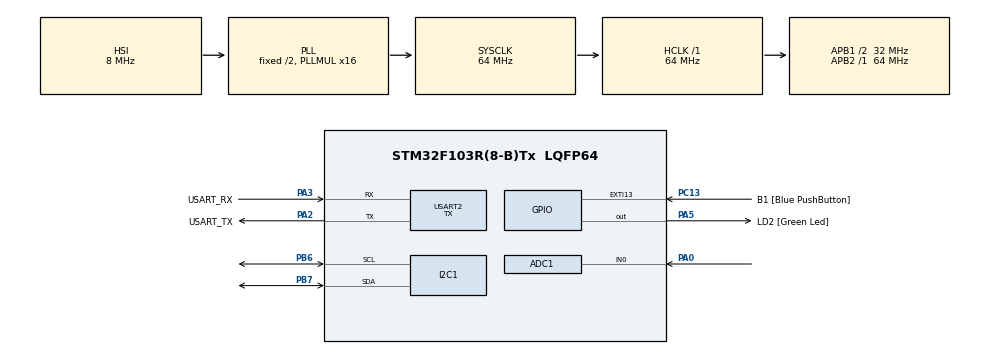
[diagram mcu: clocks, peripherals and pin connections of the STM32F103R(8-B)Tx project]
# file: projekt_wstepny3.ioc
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ADC1.Channel-0\#ChannelRegularConversion=ADC_CHANNEL_0
ADC1.ContinuousConvMode=DISABLE
ADC1.ExternalTrigConv=ADC_EXTERNALTRIGCONV_T3_TRGO
ADC1.NbrOfConversion=1
ADC1.NbrOfConversionFlag=1
ADC1.Rank-0\#ChannelRegularConversion=1
ADC1.SamplingTime-0\#ChannelRegularConversion=ADC_SAMPLETIME_1CYCLE_5
ADC1.master=1
Dma.ADC1.0.Direction=DMA_PERIPH_TO_MEMORY
Dma.ADC1.0.Instance=DMA1_Channel1
Dma.ADC1.0.MemDataAlignment=DMA_MDATAALIGN_HALFWORD
Dma.ADC1.0.MemInc=DMA_MINC_ENABLE
Dma.ADC1.0.Mode=DMA_CIRCULAR
Dma.ADC1.0.PeriphDataAlignment=DMA_PDATAALIGN_HALFWORD
Dma.ADC1.0.PeriphInc=DMA_PINC_DISABLE
Dma.ADC1.0.Priority=DMA_PRIORITY_LOW
Dma.Request0=ADC1
Dma.Request1=USART2_TX
Dma.USART2_TX.1.Direction=DMA_MEMORY_TO_PERIPH
Dma.USART2_TX.1.Instance=DMA1_Channel7
Dma.USART2_TX.1.MemDataAlignment=DMA_MDATAALIGN_BYTE
Dma.USART2_TX.1.MemInc=DMA_MINC_ENABLE
Dma.USART2_TX.1.Mode=DMA_NORMAL
Dma.USART2_TX.1.PeriphDataAlignment=DMA_PDATAALIGN_BYTE
Dma.USART2_TX.1.PeriphInc=DMA_PINC_DISABLE
Dma.USART2_TX.1.Priority=DMA_PRIORITY_LOW
Mcu.Family=STM32F1
Mcu.Name=STM32F103R(8-B)Tx
Mcu.Package=LQFP64
NVIC.DMA1_Channel1_IRQn=true\:0\:0\:false\:false\:true\:false\:true
NVIC.DMA1_Channel7_IRQn=true\:0\:0\:false\:false\:true\:false\:true
NVIC.EXTI15_10_IRQn=true\:0\:0\:false\:false\:true\:true\:true
NVIC.PriorityGroup=NVIC_PRIORITYGROUP_4
NVIC.TIM2_IRQn=true\:1\:0\:true\:false\:true\:true\:true
PA0-WKUP.Signal=ADCx_IN0
PA13.GPIO_Label=TMS
PA13.Mode=Serial_Wire
PA13.Signal=SYS_JTMS-SWDIO
PA14.GPIO_Label=TCK
PA14.Mode=Serial_Wire
PA14.Signal=SYS_JTCK-SWCLK
PA2.GPIO_Label=USART_TX
PA2.GPIO_Mode=GPIO_MODE_AF_PP
PA2.GPIO_PuPd=GPIO_NOPULL
PA2.GPIO_Speed=GPIO_SPEED_FREQ_LOW
PA2.Mode=Asynchronous
PA2.Signal=USART2_TX
PA3.GPIO_Label=USART_RX
PA3.GPIO_Mode=GPIO_MODE_AF_PP
PA3.GPIO_PuPd=GPIO_NOPULL
PA3.GPIO_Speed=GPIO_SPEED_FREQ_LOW
PA3.Mode=Asynchronous
PA3.Signal=USART2_RX
PA5.GPIO_Label=LD2 [Green Led]
PA5.GPIO_ModeDefaultOutputPP=GPIO_MODE_OUTPUT_PP
PA5.GPIO_PuPd=GPIO_NOPULL
PA5.GPIO_Speed=GPIO_SPEED_FREQ_LOW
PA5.Signal=GPIO_Output
PB3.GPIO_Label=SWO
PB3.Signal=SYS_JTDO-TRACESWO
PB6.Mode=I2C
PB6.Signal=I2C1_SCL
PB7.Mode=I2C
PB7.Signal=I2C1_SDA
PC13-TAMPER-RTC.GPIO_Label=B1 [Blue PushButton]
PC13-TAMPER-RTC.GPIO_PuPd=GPIO_NOPULL
PC13-TAMPER-RTC.Signal=GPXTI13
PC14-OSC32_IN.Mode=LSE-External-Oscillator
PC14-OSC32_IN.Signal=RCC_OSC32_IN
PC15-OSC32_OUT.Mode=LSE-External-Oscillator
PC15-OSC32_OUT.Signal=RCC_OSC32_OUT
PD0-OSC_IN.Mode=HSE-External-Clock-Source
PD0-OSC_IN.Signal=RCC_OSC_IN
PD1-OSC_OUT.Mode=HSE-External-Clock-Source
PD1-OSC_OUT.Signal=RCC_OSC_OUT
ProjectManager.HeapSize=0x200
ProjectManager.StackSize=0x400
ProjectManager.TargetToolchain=STM32CubeIDE
RCC.ADCPresc=RCC_ADCPCLK2_DIV8
RCC.AHBFreq_Value=64000000
RCC.APB1CLKDivider=RCC_HCLK_DIV2
RCC.APB1Freq_Value=32000000
RCC.APB1TimFreq_Value=64000000
RCC.APB2Freq_Value=64000000
RCC.APB2TimFreq_Value=64000000
RCC.HCLKFreq_Value=64000000
RCC.PLLMUL=RCC_PLL_MUL16
RCC.RTCClockSelection=RCC_RTCCLKSOURCE_LSE
RCC.SYSCLKFreq_VALUE=64000000
RCC.SYSCLKSource=RCC_SYSCLKSOURCE_PLLCLK
RCC.USBFreq_Value=64000000
SH.ADCx_IN0.0=ADC1_IN0,IN0
TIM2.AutoReloadPreload=TIM_AUTORELOAD_PRELOAD_ENABLE
TIM2.Period=32
TIM2.Prescaler=63999
TIM2.TIM_MasterOutputTrigger=TIM_TRGO_UPDATE
TIM3.AutoReloadPreload=TIM_AUTORELOAD_PRELOAD_ENABLE
TIM3.Period=1
TIM3.Prescaler=725
TIM3.TIM_MasterOutputTrigger=TIM_TRGO_UPDATE
USART2.Mode=MODE_TX
USART2.VirtualMode=VM_ASYNC
VP_TIM2_VS_ClockSourceINT.Mode=Internal
VP_TIM3_VS_ClockSourceINT.Mode=Internal
board=NUCLEO-F103RB

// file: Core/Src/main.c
/* USER CODE BEGIN Header */
/**
  ******************************************************************************
  * @file           : main.c
  * @brief          : Main program body
  ******************************************************************************
  * @attention
  *
  * <h2><center>&copy; Copyright (c) 2021 STMicroelectronics.
  * All rights reserved.</center></h2>
  *
  * This software component is licensed by ST under BSD 3-Clause license,
  * the "License"; You may not use this file except in compliance with the
  * License. You may obtain a copy of the License at:
  *                        opensource.org/licenses/BSD-3-Clause
  *
  ******************************************************************************
  */
/* USER CODE END Header */
#include "main.h"

/* USER CODE BEGIN Includes */
#include <stdint.h>
#include <string.h>
#include "stm32_fix_fft.h"
//#include "ssd1306.h"
//#include "ssd1306_tests.h"
#include "lib_ssd1306.h"
/* USER CODE END Includes */

/* USER CODE BEGIN PD */
#define FFT_LEN (uint32_t)256
#define HALF_FFT_LEN (uint32_t)128
#define LOG_2_FFT_LEN (uint32_t)8
#define UART_TIMEOUT (uint32_t)10 //timeout duration
#define WAITING_TIME (uint32_t)10
//#define COM_START_CHAR (uint8_t)'F'

#define UART_SEND
/* USER CODE END PD */

ADC_HandleTypeDef hadc1;
DMA_HandleTypeDef hdma_adc1;

I2C_HandleTypeDef hi2c1;

TIM_HandleTypeDef htim2;
TIM_HandleTypeDef htim3;

UART_HandleTypeDef huart2;
DMA_HandleTypeDef hdma_usart2_tx;

/* USER CODE BEGIN PV */

int16_t adc_data[FFT_LEN] = {0};
int16_t data[FFT_LEN] = {0};
int16_t buffer[FFT_LEN] = {0};

int16_t imag[FFT_LEN] = {0};

uint16_t max = 0;

uint32_t sum = 0;
uint16_t mean = 0;

uint32_t interrupt_flag = 0;

uint8_t text[10];

/* USER CODE END PV */

void SystemClock_Config(void);
static void MX_GPIO_Init(void);
static void MX_USART2_UART_Init(void);
static void MX_DMA_Init(void);
static void MX_ADC1_Init(void);
static void MX_I2C1_Init(void);
static void MX_TIM3_Init(void);
static void MX_TIM2_Init(void);
/* USER CODE BEGIN PFP */
double sqrt(double arg);
int sprintf(char* str, const char* format, ...);
/* USER CODE END PFP */

int main(void)
{

  /* MCU Configuration--------------------------------------------------------*/

  /* Reset of all peripherals, Initializes the Flash interface and the Systick. */
  HAL_Init();

  /* Configure the system clock */
  SystemClock_Config();

  /* Initialize all configured peripherals */
  MX_GPIO_Init();
  MX_USART2_UART_Init();
  MX_DMA_Init();
  MX_ADC1_Init();
  MX_I2C1_Init();
  MX_TIM3_Init();
  MX_TIM2_Init();
  /* USER CODE BEGIN 2 */
  //initializing display
  ssd1306_setup();
  //waiting for display initialization
  HAL_Delay(10);
  //starting timer which triggerssampling timer (TIM3)
  HAL_TIM_Base_Start_IT(&htim2);
  //connecting adc data to buffer via dma
  HAL_ADC_Start_DMA(&hadc1, (uint32_t*) adc_data, FFT_LEN);
  //waiting for peripherals initialization
  HAL_Delay(10);
  /* USER CODE END 2 */

  /* Infinite loop */
  while (1)
  {

    /* USER CODE BEGIN 3 */
	if(interrupt_flag)
	{
		//clear screen
		ssd1306_clear();

		max = 0;
		sum = 0;
		mean = 0;

		for(int i = 0; i < FFT_LEN; i++)
		{
			buffer[i] = data[i];
			sum += buffer[i];
		}
		//removing dc
		mean = sum/FFT_LEN;
		for(int i = 0; i < FFT_LEN; i++)
		{
			buffer[i] -= mean;
		}

		//send uart data
		#ifdef UART_SEND
		HAL_UART_Transmit(&huart2, (uint8_t*) "F", 1, UART_TIMEOUT);
		for(int i = 0; i < FFT_LEN; i++)
		{
			sprintf((char*)text, (char*)"%d,", buffer[i]);
			HAL_UART_Transmit(&huart2, text, strlen((char*) text), UART_TIMEOUT);
		}
		HAL_UART_Transmit(&huart2, (uint8_t*) "\n", 1, UART_TIMEOUT);
		#endif

		//computing fft
		fix_fft(buffer, imag, LOG_2_FFT_LEN, 0);
		//computing absolute value of fft result and searching for max value
		for(int i = 0; i < FFT_LEN; i++)
		{
			buffer[i] = (int16_t)sqrt(buffer[i] * buffer[i] + imag[i] * imag[i]);
			if (buffer[i] > max) max = buffer[i];
		}
		//normalizing results to the max value and writing it to screen memory
		for(int i = 0; i < HALF_FFT_LEN; i++)
		{
			buffer[i] = 32*buffer[i]/max;
			ssd1306_line(i, 32-buffer[i]);
		}
		//displaying
		ssd1306_update();
		//stop sampling timer
		HAL_TIM_Base_Stop(&htim3);

		//clearing interrupt flag
		interrupt_flag = 0;
	}

  }
  /* USER CODE END 3 */
}

void SystemClock_Config(void)
{
  RCC_OscInitTypeDef RCC_OscInitStruct = {0};
  RCC_ClkInitTypeDef RCC_ClkInitStruct = {0};
  RCC_PeriphCLKInitTypeDef PeriphClkInit = {0};

  /** Initializes the RCC Oscillators according to the specified parameters
  * in the RCC_OscInitTypeDef structure.
  */
  RCC_OscInitStruct.OscillatorType = RCC_OSCILLATORTYPE_HSI;
  RCC_OscInitStruct.HSIState = RCC_HSI_ON;
  RCC_OscInitStruct.HSICalibrationValue = RCC_HSICALIBRATION_DEFAULT;
  RCC_OscInitStruct.PLL.PLLState = RCC_PLL_ON;
  RCC_OscInitStruct.PLL.PLLSource = RCC_PLLSOURCE_HSI_DIV2;
  RCC_OscInitStruct.PLL.PLLMUL = RCC_PLL_MUL16;
  if (HAL_RCC_OscConfig(&RCC_OscInitStruct) != HAL_OK)
  {
    Error_Handler();
  }
  /** Initializes the CPU, AHB and APB buses clocks
  */
  RCC_ClkInitStruct.ClockType = RCC_CLOCKTYPE_HCLK|RCC_CLOCKTYPE_SYSCLK
                              |RCC_CLOCKTYPE_PCLK1|RCC_CLOCKTYPE_PCLK2;
  RCC_ClkInitStruct.SYSCLKSource = RCC_SYSCLKSOURCE_PLLCLK;
  RCC_ClkInitStruct.AHBCLKDivider = RCC_SYSCLK_DIV1;
  RCC_ClkInitStruct.APB1CLKDivider = RCC_HCLK_DIV2;
  RCC_ClkInitStruct.APB2CLKDivider = RCC_HCLK_DIV1;

  if (HAL_RCC_ClockConfig(&RCC_ClkInitStruct, FLASH_LATENCY_2) != HAL_OK)
  {
    Error_Handler();
  }
  PeriphClkInit.PeriphClockSelection = RCC_PERIPHCLK_ADC;
  PeriphClkInit.AdcClockSelection = RCC_ADCPCLK2_DIV8;
  if (HAL_RCCEx_PeriphCLKConfig(&PeriphClkInit) != HAL_OK)
  {
    Error_Handler();
  }
}

static void MX_ADC1_Init(void)
{

  ADC_ChannelConfTypeDef sConfig = {0};

  /** Common config
  */
  hadc1.Instance = ADC1;
  hadc1.Init.ScanConvMode = ADC_SCAN_DISABLE;
  hadc1.Init.ContinuousConvMode = DISABLE;
  hadc1.Init.DiscontinuousConvMode = DISABLE;
  hadc1.Init.ExternalTrigConv = ADC_EXTERNALTRIGCONV_T3_TRGO;
  hadc1.Init.DataAlign = ADC_DATAALIGN_RIGHT;
  hadc1.Init.NbrOfConversion = 1;
  if (HAL_ADC_Init(&hadc1) != HAL_OK)
  {
    Error_Handler();
  }
  /** Configure Regular Channel
  */
  sConfig.Channel = ADC_CHANNEL_0;
  sConfig.Rank = ADC_REGULAR_RANK_1;
  sConfig.SamplingTime = ADC_SAMPLETIME_1CYCLE_5;
  if (HAL_ADC_ConfigChannel(&hadc1, &sConfig) != HAL_OK)
  {
    Error_Handler();
  }

}

static void MX_I2C1_Init(void)
{

  hi2c1.Instance = I2C1;
  hi2c1.Init.ClockSpeed = 100000;
  hi2c1.Init.DutyCycle = I2C_DUTYCYCLE_2;
  hi2c1.Init.OwnAddress1 = 0;
  hi2c1.Init.AddressingMode = I2C_ADDRESSINGMODE_7BIT;
  hi2c1.Init.DualAddressMode = I2C_DUALADDRESS_DISABLE;
  hi2c1.Init.OwnAddress2 = 0;
  hi2c1.Init.GeneralCallMode = I2C_GENERALCALL_DISABLE;
  hi2c1.Init.NoStretchMode = I2C_NOSTRETCH_DISABLE;
  if (HAL_I2C_Init(&hi2c1) != HAL_OK)
  {
    Error_Handler();
  }

}

static void MX_TIM2_Init(void)
{

  TIM_ClockConfigTypeDef sClockSourceConfig = {0};
  TIM_MasterConfigTypeDef sMasterConfig = {0};

  htim2.Instance = TIM2;
  htim2.Init.Prescaler = 63999;
  htim2.Init.CounterMode = TIM_COUNTERMODE_UP;
  htim2.Init.Period = 32;
  htim2.Init.ClockDivision = TIM_CLOCKDIVISION_DIV1;
  htim2.Init.AutoReloadPreload = TIM_AUTORELOAD_PRELOAD_ENABLE;
  if (HAL_TIM_Base_Init(&htim2) != HAL_OK)
  {
    Error_Handler();
  }
  sClockSourceConfig.ClockSource = TIM_CLOCKSOURCE_INTERNAL;
  if (HAL_TIM_ConfigClockSource(&htim2, &sClockSourceConfig) != HAL_OK)
  {
    Error_Handler();
  }
  sMasterConfig.MasterOutputTrigger = TIM_TRGO_UPDATE;
  sMasterConfig.MasterSlaveMode = TIM_MASTERSLAVEMODE_DISABLE;
  if (HAL_TIMEx_MasterConfigSynchronization(&htim2, &sMasterConfig) != HAL_OK)
  {
    Error_Handler();
  }

}

static void MX_TIM3_Init(void)
{

  TIM_ClockConfigTypeDef sClockSourceConfig = {0};
  TIM_MasterConfigTypeDef sMasterConfig = {0};

  htim3.Instance = TIM3;
  htim3.Init.Prescaler = 725;
  htim3.Init.CounterMode = TIM_COUNTERMODE_UP;
  htim3.Init.Period = 1;
  htim3.Init.ClockDivision = TIM_CLOCKDIVISION_DIV1;
  htim3.Init.AutoReloadPreload = TIM_AUTORELOAD_PRELOAD_ENABLE;
  if (HAL_TIM_Base_Init(&htim3) != HAL_OK)
  {
    Error_Handler();
  }
  sClockSourceConfig.ClockSource = TIM_CLOCKSOURCE_INTERNAL;
  if (HAL_TIM_ConfigClockSource(&htim3, &sClockSourceConfig) != HAL_OK)
  {
    Error_Handler();
  }
  sMasterConfig.MasterOutputTrigger = TIM_TRGO_UPDATE;
  sMasterConfig.MasterSlaveMode = TIM_MASTERSLAVEMODE_DISABLE;
  if (HAL_TIMEx_MasterConfigSynchronization(&htim3, &sMasterConfig) != HAL_OK)
  {
    Error_Handler();
  }

}

static void MX_USART2_UART_Init(void)
{

  huart2.Instance = USART2;
  huart2.Init.BaudRate = 115200;
  huart2.Init.WordLength = UART_WORDLENGTH_8B;
  huart2.Init.StopBits = UART_STOPBITS_1;
  huart2.Init.Parity = UART_PARITY_NONE;
  huart2.Init.Mode = UART_MODE_TX;
  huart2.Init.HwFlowCtl = UART_HWCONTROL_NONE;
  huart2.Init.OverSampling = UART_OVERSAMPLING_16;
  if (HAL_UART_Init(&huart2) != HAL_OK)
  {
    Error_Handler();
  }

}

static void MX_DMA_Init(void)
{

  /* DMA controller clock enable */
  __HAL_RCC_DMA1_CLK_ENABLE();

  /* DMA interrupt init */
  /* DMA1_Channel1_IRQn interrupt configuration */
  HAL_NVIC_SetPriority(DMA1_Channel1_IRQn, 0, 0);
  HAL_NVIC_EnableIRQ(DMA1_Channel1_IRQn);
  /* DMA1_Channel7_IRQn interrupt configuration */
  HAL_NVIC_SetPriority(DMA1_Channel7_IRQn, 0, 0);
  HAL_NVIC_EnableIRQ(DMA1_Channel7_IRQn);

}

static void MX_GPIO_Init(void)
{
  GPIO_InitTypeDef GPIO_InitStruct = {0};

  /* GPIO Ports Clock Enable */
  __HAL_RCC_GPIOC_CLK_ENABLE();
  __HAL_RCC_GPIOD_CLK_ENABLE();
  __HAL_RCC_GPIOA_CLK_ENABLE();
  __HAL_RCC_GPIOB_CLK_ENABLE();

  /*Configure GPIO pin Output Level */
  HAL_GPIO_WritePin(LD2_GPIO_Port, LD2_Pin, GPIO_PIN_RESET);

  /*Configure GPIO pin : B1_Pin */
  GPIO_InitStruct.Pin = B1_Pin;
  GPIO_InitStruct.Mode = GPIO_MODE_IT_RISING;
  GPIO_InitStruct.Pull = GPIO_NOPULL;
  HAL_GPIO_Init(B1_GPIO_Port, &GPIO_InitStruct);

  /*Configure GPIO pin : LD2_Pin */
  GPIO_InitStruct.Pin = LD2_Pin;
  GPIO_InitStruct.Mode = GPIO_MODE_OUTPUT_PP;
  GPIO_InitStruct.Pull = GPIO_NOPULL;
  GPIO_InitStruct.Speed = GPIO_SPEED_FREQ_LOW;
  HAL_GPIO_Init(LD2_GPIO_Port, &GPIO_InitStruct);

  /* EXTI interrupt init*/
  HAL_NVIC_SetPriority(EXTI15_10_IRQn, 0, 0);
  HAL_NVIC_EnableIRQ(EXTI15_10_IRQn);

}

/* USER CODE BEGIN 4 */
void HAL_ADC_ConvCpltCallback(ADC_HandleTypeDef* hadc)
{
	//set interrupt flag
	interrupt_flag = 1;
	//saving adc samples to new array
	for(int i = 0; i < FFT_LEN; i++)
	{
		data[i] = adc_data[i];
		sum += data[i];
	}

}

void HAL_TIM_PeriodElapsedCallback(TIM_HandleTypeDef *htim)
{
  if(htim == &htim2)
  {
	  //start sampling timer
	  HAL_TIM_Base_Start(&htim3);
  }
}

/* USER CODE END 4 */

void Error_Handler(void)
{
  __disable_irq();
  while (1)
  {
  }
}

/************************ (C) COPYRIGHT STMicroelectronics *****END OF FILE****/
